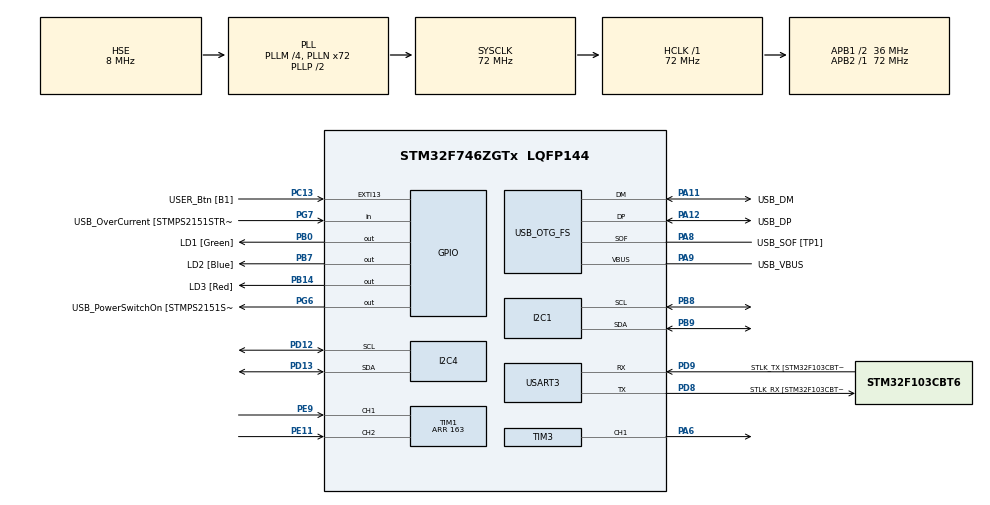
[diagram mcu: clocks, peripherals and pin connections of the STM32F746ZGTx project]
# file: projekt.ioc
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I2C1.OwnAddress=0
I2C1.Timing=0x00808CD2
I2C4.Timing=0x00808CD2
Mcu.Family=STM32F7
Mcu.Name=STM32F746ZGTx
Mcu.Package=LQFP144
NVIC.PriorityGroup=NVIC_PRIORITYGROUP_4
PA1.GPIO_Label=RMII_REF_CLK [LAN8742A-CZ-TR_REFCLK0]
PA1.Signal=ETH_REF_CLK
PA10.GPIO_Label=USB_ID
PA10.Signal=USB_OTG_FS_ID
PA11.GPIO_Label=USB_DM
PA11.Mode=Device_Only
PA11.Signal=USB_OTG_FS_DM
PA12.GPIO_Label=USB_DP
PA12.Mode=Device_Only
PA12.Signal=USB_OTG_FS_DP
PA13.GPIO_Label=TMS
PA13.Mode=Serial_Wire
PA13.Signal=SYS_JTMS-SWDIO
PA14.GPIO_Label=TCK
PA14.Mode=Serial_Wire
PA14.Signal=SYS_JTCK-SWCLK
PA2.GPIO_Label=RMII_MDIO [LAN8742A-CZ-TR_MDIO]
PA2.Signal=ETH_MDIO
PA6.Signal=S_TIM3_CH1
PA7.GPIO_Label=RMII_CRS_DV [LAN8742A-CZ-TR_CRS_DV]
PA7.Signal=ETH_CRS_DV
PA8.GPIO_Label=USB_SOF [TP1]
PA8.Mode=Activate_SOF_FS
PA8.Signal=USB_OTG_FS_SOF
PA9.GPIO_Label=USB_VBUS
PA9.Mode=Activate_VBUS
PA9.Signal=USB_OTG_FS_VBUS
PB0.GPIO_Label=LD1 [Green]
PB0.Signal=GPIO_Output
PB13.GPIO_Label=RMII_TXD1 [LAN8742A-CZ-TR_TXD1]
PB13.Signal=ETH_TXD1
PB14.GPIO_Label=LD3 [Red]
PB14.Signal=GPIO_Output
PB3.GPIO_Label=SW0
PB3.Signal=SYS_JTDO-SWO
PB7.GPIO_Label=LD2 [Blue]
PB7.Signal=GPIO_Output
PB8.Mode=I2C
PB8.Signal=I2C1_SCL
PB9.Mode=I2C
PB9.Signal=I2C1_SDA
PC1.GPIO_Label=RMII_MDC [LAN8742A-CZ-TR_MDC]
PC1.Signal=ETH_MDC
PC13.GPIO_Label=USER_Btn [B1]
PC13.Signal=GPXTI13
PC14/OSC32_IN.Mode=LSE-External-Oscillator
PC14/OSC32_IN.Signal=RCC_OSC32_IN
PC15/OSC32_OUT.Mode=LSE-External-Oscillator
PC15/OSC32_OUT.Signal=RCC_OSC32_OUT
PC4.GPIO_Label=RMII_RXD0 [LAN8742A-CZ-TR_RXD0]
PC4.Signal=ETH_RXD0
PC5.GPIO_Label=RMII_RXD1 [LAN8742A-CZ-TR_RXD1]
PC5.Signal=ETH_RXD1
PD12.Mode=I2C
PD12.Signal=I2C4_SCL
PD13.Mode=I2C
PD13.Signal=I2C4_SDA
PD8.GPIO_Label=STLK_RX [STM32F103CBT6_PA3]
PD8.GPIO_PuPd=GPIO_PULLUP
PD8.Mode=Asynchronous
PD8.Signal=USART3_TX
PD9.GPIO_Label=STLK_TX [STM32F103CBT6_PA2]
PD9.GPIO_PuPd=GPIO_PULLUP
PD9.Mode=Asynchronous
PD9.Signal=USART3_RX
PE11.Signal=S_TIM1_CH2
PE9.Signal=S_TIM1_CH1
PG11.GPIO_Label=RMII_TX_EN [LAN8742A-CZ-TR_TXEN]
PG11.Signal=ETH_TX_EN
PG13.GPIO_Label=RMII_TXD0 [LAN8742A-CZ-TR_TXD0]
PG13.Signal=ETH_TXD0
PG6.GPIO_Label=USB_PowerSwitchOn [STMPS2151STR_EN]
PG6.Signal=GPIO_Output
PG7.GPIO_Label=USB_OverCurrent [STMPS2151STR_FAULT]
PG7.Signal=GPIO_Input
PH0/OSC_IN.GPIO_Label=MCO [STM32F103CBT6_PA8]
PH0/OSC_IN.Mode=HSE-External-Clock-Source
PH0/OSC_IN.Signal=RCC_OSC_IN
PH1/OSC_OUT.Mode=HSE-External-Clock-Source
PH1/OSC_OUT.Signal=RCC_OSC_OUT
ProjectManager.HeapSize=0x200
ProjectManager.StackSize=0x400
ProjectManager.TargetToolchain=STM32CubeIDE
RCC.48MHZClocksFreq_Value=24000000
RCC.AHBFreq_Value=72000000
RCC.APB1CLKDivider=RCC_HCLK_DIV2
RCC.APB1Freq_Value=36000000
RCC.APB1TimFreq_Value=72000000
RCC.APB2Freq_Value=72000000
RCC.APB2TimFreq_Value=72000000
RCC.CortexFreq_Value=72000000
RCC.HCLKFreq_Value=72000000
RCC.HSE_VALUE=8000000
RCC.HSI_VALUE=16000000
RCC.PLLM=4
RCC.PLLMUL=RCC_PLL_MUL9
RCC.PLLN=72
RCC.PLLQ=3
RCC.PRESCALERUSB=RCC_USBCLKSOURCE_PLL_DIV1_5
RCC.SYSCLKFreq_VALUE=72000000
RCC.SYSCLKSource=RCC_SYSCLKSOURCE_PLLCLK
RCC.SYSCLKSourceVirtual=RCC_SYSCLKSOURCE_PLLCLK
RCC.USBFreq_Value=48000000
RCC.VCOOutputFreq_Value=144000000
SH.S_TIM1_CH1.0=TIM1_CH1,Encoder_Interface
SH.S_TIM1_CH2.0=TIM1_CH2,Encoder_Interface
SH.S_TIM3_CH1.0=TIM3_CH1,PWM Generation1 CH1
TIM1.EncoderMode=TIM_ENCODERMODE_TI12
TIM1.Period=163
TIM3.Channel-PWM\ Generation1\ CH1=TIM_CHANNEL_1
TIM3.ClockDivision=TIM_CLOCKDIVISION_DIV4
TIM3.Period=65535
TIM3.Prescaler=6000
USART3.VirtualMode-Asynchronous=VM_ASYNC
USB_OTG_FS.VirtualMode=Device_Only
VP_TIM3_VS_ClockSourceINT.Mode=Internal
board=NUCLEO-F746ZG

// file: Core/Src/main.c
/* USER CODE BEGIN Header */
/**
  ******************************************************************************
  * @file           : main.c
  * @brief          : Main program body
  ******************************************************************************
  * @attention
  *
  * Copyright (c) 2024 STMicroelectronics.
  * All rights reserved.
  *
  * This software is licensed under terms that can be found in the LICENSE file
  * in the root directory of this software component.
  * If no LICENSE file comes with this software, it is provided AS-IS.
  *
  ******************************************************************************
  */
/* USER CODE END Header */
#include "main.h"

/* USER CODE BEGIN Includes */
#include "C:\Users\GamingSystemOfUseV\Documents\github\Regulator-PID-ogrzewanie\projekt\Core\Inc\BMPXX80.h"
#include "C:\Users\GamingSystemOfUseV\Documents\github\Regulator-PID-ogrzewanie\projekt\Core\Inc\i2c-lcd.h"
#include "math.h"
#include <string.h>
#include <stdio.h>
#include <stdlib.h>
#include <stdbool.h>
/* USER CODE END Includes */

I2C_HandleTypeDef hi2c1;
I2C_HandleTypeDef hi2c4;

TIM_HandleTypeDef htim1;
TIM_HandleTypeDef htim3;

UART_HandleTypeDef huart3;

PCD_HandleTypeDef hpcd_USB_OTG_FS;

/* USER CODE BEGIN PV */
float temperature;
int32_t pressure;
float uchyb=0;
float filtrowanyuchyb=0;
float poprzedniuchyb;
float calkowanyuchyb=0;
float zadana=27;
float sterowanie;
float Tp=0;
float pTp;
float const kp=6000;
float const kd=10;
float const ki=0.5;
char msg[50];
char otrzymana[8];
bool startuart=false;
/* USER CODE END PV */

void SystemClock_Config(void);
static void MX_GPIO_Init(void);
static void MX_USART3_UART_Init(void);
static void MX_USB_OTG_FS_PCD_Init(void);
static void MX_I2C1_Init(void);
static void MX_TIM1_Init(void);
static void MX_TIM3_Init(void);
static void MX_I2C4_Init(void);

int main(void)
{
  /* USER CODE BEGIN 1 */
#define MAX_LENGTH 30
char text[MAX_LENGTH];
  /* USER CODE END 1 */

  /* MCU Configuration--------------------------------------------------------*/

  /* Reset of all peripherals, Initializes the Flash interface and the Systick. */
  HAL_Init();

  /* Configure the system clock */
  SystemClock_Config();

  /* Initialize all configured peripherals */
  MX_GPIO_Init();
  MX_USART3_UART_Init();
  MX_USB_OTG_FS_PCD_Init();
  MX_I2C1_Init();
  MX_TIM1_Init();
  MX_TIM3_Init();
  MX_I2C4_Init();
  /* USER CODE BEGIN 2 */
  HAL_GPIO_TogglePin(GPIOB, LD1_Pin);
  uint32_t wait=HAL_GetTick();
  while(HAL_GetTick()-wait<5000){
	  if (HAL_GPIO_ReadPin(GPIOC, USER_Btn_Pin) == 1){
  		  HAL_GPIO_TogglePin(GPIOB, LD2_Pin);
  		  lcd_init ();
  		  break;
  	  }
  }
  HAL_GPIO_TogglePin(GPIOB, LD1_Pin);
  BMP280_Init(&hi2c1, BMP280_TEMPERATURE_16BIT, BMP280_STANDARD, BMP280_FORCEDMODE);
  HAL_TIM_Encoder_Start(&htim1, TIM_CHANNEL_ALL);
  HAL_TIM_PWM_Start(&htim3, TIM_CHANNEL_1);
  /* USER CODE END 2 */

  /* Infinite loop */
  while (1)
  {

    /* USER CODE BEGIN 3 */
	  if(HAL_GPIO_ReadPin(GPIOB, LD3_Pin) == 0){
	  zadana=__HAL_TIM_GET_COUNTER(&htim1)/8+20;
	  }
	  temperature=BMP280_ReadTemperature();
	  //BMP280_ReadTemperatureAndPressure(&temperature, &pressure);
	  poprzedniuchyb=filtrowanyuchyb;
	  uchyb=zadana-temperature;
	  filtrowanyuchyb=0.20787957635076193/2*filtrowanyuchyb+(1-0.20787957635076193/2)*uchyb;
	  calkowanyuchyb=calkowanyuchyb+uchyb;
	  pTp=Tp;
	  Tp=HAL_GetTick();
	  sterowanie=round(kp*uchyb+kd/(Tp-pTp)*(filtrowanyuchyb-poprzedniuchyb)+ki*calkowanyuchyb);
	  if(sterowanie<0){
		  sterowanie=0;
	  }
	  if(sterowanie>65535){
		  sterowanie=65535;
	  }
	  if(calkowanyuchyb*ki>65535){
		  calkowanyuchyb=65535/ki;
	  }
	  if(calkowanyuchyb*ki<-65535){
	  		  calkowanyuchyb=-65535/ki;
	  	  }
	  __HAL_TIM_SET_COMPARE(&htim3, TIM_CHANNEL_1, sterowanie);
//	  sprintf((char*)msg, "Temperatura aktualna= %3i\n\r °C", temperature);
//	  HAL_UART_Transmit(&huart3, (uint8_t*)msg, strlen(msg), 1000);
//	  sprintf((char*)msg, "Temperatura zadana= %3i\n\r °C", temperature);
//	  HAL_UART_Transmit(&huart3, (uint8_t*)msg, strlen(msg), 1000);
	  sprintf((char*)msg, "%f\n\r%09.6f\n\r", temperature, zadana);
	  if (startuart){
		  HAL_UART_Transmit(&huart3, (uint8_t*)msg, strlen(msg), 1000);
	  }
	  if (HAL_GPIO_ReadPin(GPIOC, USER_Btn_Pin) == 1 && !startuart){
		  startuart=true;
		  while(HAL_GPIO_ReadPin(GPIOC, USER_Btn_Pin) == 1){}
	  }
	  if (HAL_GPIO_ReadPin(GPIOC, USER_Btn_Pin) == 1 && startuart){
		  HAL_GPIO_TogglePin(GPIOB, LD3_Pin);
		  if (HAL_GPIO_ReadPin(GPIOB, LD3_Pin) == 1){
			  HAL_UART_Receive(&huart3,(uint8_t*)otrzymana, 8, 10000);
			  zadana=atof(otrzymana);
		  }
		  while(HAL_GPIO_ReadPin(GPIOC, USER_Btn_Pin) == 1){}
	  }
	  if(HAL_GPIO_ReadPin(GPIOB, LD2_Pin) == 1){
		  BMP280_ReadTemperatureAndPressure(&temperature, &pressure);
		   lcd_clear ();
		   lcd_put_cur(0, 0);
		   sprintf((char*)text, "Temp. %.2f C", temperature);
		   lcd_send_string(text);
		   lcd_put_cur(1, 0);
		   sprintf((char*)text, "T_zad. %.2f C", zadana);
		   lcd_send_string(text);

	  }
  }
  /* USER CODE END 3 */
}

void SystemClock_Config(void)
{
  RCC_OscInitTypeDef RCC_OscInitStruct = {0};
  RCC_ClkInitTypeDef RCC_ClkInitStruct = {0};

  /** Configure LSE Drive Capability
  */
  HAL_PWR_EnableBkUpAccess();

  /** Configure the main internal regulator output voltage
  */
  __HAL_RCC_PWR_CLK_ENABLE();
  __HAL_PWR_VOLTAGESCALING_CONFIG(PWR_REGULATOR_VOLTAGE_SCALE3);

  /** Initializes the RCC Oscillators according to the specified parameters
  * in the RCC_OscInitTypeDef structure.
  */
  RCC_OscInitStruct.OscillatorType = RCC_OSCILLATORTYPE_HSE;
  RCC_OscInitStruct.HSEState = RCC_HSE_BYPASS;
  RCC_OscInitStruct.PLL.PLLState = RCC_PLL_ON;
  RCC_OscInitStruct.PLL.PLLSource = RCC_PLLSOURCE_HSE;
  RCC_OscInitStruct.PLL.PLLM = 4;
  RCC_OscInitStruct.PLL.PLLN = 72;
  RCC_OscInitStruct.PLL.PLLP = RCC_PLLP_DIV2;
  RCC_OscInitStruct.PLL.PLLQ = 3;
  if (HAL_RCC_OscConfig(&RCC_OscInitStruct) != HAL_OK)
  {
    Error_Handler();
  }

  /** Initializes the CPU, AHB and APB buses clocks
  */
  RCC_ClkInitStruct.ClockType = RCC_CLOCKTYPE_HCLK|RCC_CLOCKTYPE_SYSCLK
                              |RCC_CLOCKTYPE_PCLK1|RCC_CLOCKTYPE_PCLK2;
  RCC_ClkInitStruct.SYSCLKSource = RCC_SYSCLKSOURCE_PLLCLK;
  RCC_ClkInitStruct.AHBCLKDivider = RCC_SYSCLK_DIV1;
  RCC_ClkInitStruct.APB1CLKDivider = RCC_HCLK_DIV2;
  RCC_ClkInitStruct.APB2CLKDivider = RCC_HCLK_DIV1;

  if (HAL_RCC_ClockConfig(&RCC_ClkInitStruct, FLASH_LATENCY_2) != HAL_OK)
  {
    Error_Handler();
  }
}

static void MX_I2C1_Init(void)
{

  hi2c1.Instance = I2C1;
  hi2c1.Init.Timing = 0x00808CD2;
  hi2c1.Init.OwnAddress1 = 0;
  hi2c1.Init.AddressingMode = I2C_ADDRESSINGMODE_7BIT;
  hi2c1.Init.DualAddressMode = I2C_DUALADDRESS_DISABLE;
  hi2c1.Init.OwnAddress2 = 0;
  hi2c1.Init.OwnAddress2Masks = I2C_OA2_NOMASK;
  hi2c1.Init.GeneralCallMode = I2C_GENERALCALL_DISABLE;
  hi2c1.Init.NoStretchMode = I2C_NOSTRETCH_DISABLE;
  if (HAL_I2C_Init(&hi2c1) != HAL_OK)
  {
    Error_Handler();
  }

  /** Configure Analogue filter
  */
  if (HAL_I2CEx_ConfigAnalogFilter(&hi2c1, I2C_ANALOGFILTER_ENABLE) != HAL_OK)
  {
    Error_Handler();
  }

  /** Configure Digital filter
  */
  if (HAL_I2CEx_ConfigDigitalFilter(&hi2c1, 0) != HAL_OK)
  {
    Error_Handler();
  }

}

static void MX_I2C4_Init(void)
{

  hi2c4.Instance = I2C4;
  hi2c4.Init.Timing = 0x00808CD2;
  hi2c4.Init.OwnAddress1 = 0;
  hi2c4.Init.AddressingMode = I2C_ADDRESSINGMODE_7BIT;
  hi2c4.Init.DualAddressMode = I2C_DUALADDRESS_DISABLE;
  hi2c4.Init.OwnAddress2 = 0;
  hi2c4.Init.OwnAddress2Masks = I2C_OA2_NOMASK;
  hi2c4.Init.GeneralCallMode = I2C_GENERALCALL_DISABLE;
  hi2c4.Init.NoStretchMode = I2C_NOSTRETCH_DISABLE;
  if (HAL_I2C_Init(&hi2c4) != HAL_OK)
  {
    Error_Handler();
  }

  /** Configure Analogue filter
  */
  if (HAL_I2CEx_ConfigAnalogFilter(&hi2c4, I2C_ANALOGFILTER_ENABLE) != HAL_OK)
  {
    Error_Handler();
  }

  /** Configure Digital filter
  */
  if (HAL_I2CEx_ConfigDigitalFilter(&hi2c4, 0) != HAL_OK)
  {
    Error_Handler();
  }

}

static void MX_TIM1_Init(void)
{

  TIM_Encoder_InitTypeDef sConfig = {0};
  TIM_MasterConfigTypeDef sMasterConfig = {0};

  htim1.Instance = TIM1;
  htim1.Init.Prescaler = 0;
  htim1.Init.CounterMode = TIM_COUNTERMODE_UP;
  htim1.Init.Period = 163;
  htim1.Init.ClockDivision = TIM_CLOCKDIVISION_DIV1;
  htim1.Init.RepetitionCounter = 0;
  htim1.Init.AutoReloadPreload = TIM_AUTORELOAD_PRELOAD_DISABLE;
  sConfig.EncoderMode = TIM_ENCODERMODE_TI12;
  sConfig.IC1Polarity = TIM_ICPOLARITY_RISING;
  sConfig.IC1Selection = TIM_ICSELECTION_DIRECTTI;
  sConfig.IC1Prescaler = TIM_ICPSC_DIV1;
  sConfig.IC1Filter = 0;
  sConfig.IC2Polarity = TIM_ICPOLARITY_RISING;
  sConfig.IC2Selection = TIM_ICSELECTION_DIRECTTI;
  sConfig.IC2Prescaler = TIM_ICPSC_DIV1;
  sConfig.IC2Filter = 0;
  if (HAL_TIM_Encoder_Init(&htim1, &sConfig) != HAL_OK)
  {
    Error_Handler();
  }
  sMasterConfig.MasterOutputTrigger = TIM_TRGO_RESET;
  sMasterConfig.MasterOutputTrigger2 = TIM_TRGO2_RESET;
  sMasterConfig.MasterSlaveMode = TIM_MASTERSLAVEMODE_DISABLE;
  if (HAL_TIMEx_MasterConfigSynchronization(&htim1, &sMasterConfig) != HAL_OK)
  {
    Error_Handler();
  }

}

static void MX_TIM3_Init(void)
{

  TIM_ClockConfigTypeDef sClockSourceConfig = {0};
  TIM_MasterConfigTypeDef sMasterConfig = {0};
  TIM_OC_InitTypeDef sConfigOC = {0};

  htim3.Instance = TIM3;
  htim3.Init.Prescaler = 6000;
  htim3.Init.CounterMode = TIM_COUNTERMODE_UP;
  htim3.Init.Period = 65535;
  htim3.Init.ClockDivision = TIM_CLOCKDIVISION_DIV4;
  htim3.Init.AutoReloadPreload = TIM_AUTORELOAD_PRELOAD_DISABLE;
  if (HAL_TIM_Base_Init(&htim3) != HAL_OK)
  {
    Error_Handler();
  }
  sClockSourceConfig.ClockSource = TIM_CLOCKSOURCE_INTERNAL;
  if (HAL_TIM_ConfigClockSource(&htim3, &sClockSourceConfig) != HAL_OK)
  {
    Error_Handler();
  }
  if (HAL_TIM_PWM_Init(&htim3) != HAL_OK)
  {
    Error_Handler();
  }
  sMasterConfig.MasterOutputTrigger = TIM_TRGO_RESET;
  sMasterConfig.MasterSlaveMode = TIM_MASTERSLAVEMODE_DISABLE;
  if (HAL_TIMEx_MasterConfigSynchronization(&htim3, &sMasterConfig) != HAL_OK)
  {
    Error_Handler();
  }
  sConfigOC.OCMode = TIM_OCMODE_PWM1;
  sConfigOC.Pulse = 0;
  sConfigOC.OCPolarity = TIM_OCPOLARITY_HIGH;
  sConfigOC.OCFastMode = TIM_OCFAST_DISABLE;
  if (HAL_TIM_PWM_ConfigChannel(&htim3, &sConfigOC, TIM_CHANNEL_1) != HAL_OK)
  {
    Error_Handler();
  }
  HAL_TIM_MspPostInit(&htim3);

}

static void MX_USART3_UART_Init(void)
{

  huart3.Instance = USART3;
  huart3.Init.BaudRate = 115200;
  huart3.Init.WordLength = UART_WORDLENGTH_8B;
  huart3.Init.StopBits = UART_STOPBITS_1;
  huart3.Init.Parity = UART_PARITY_NONE;
  huart3.Init.Mode = UART_MODE_TX_RX;
  huart3.Init.HwFlowCtl = UART_HWCONTROL_NONE;
  huart3.Init.OverSampling = UART_OVERSAMPLING_16;
  huart3.Init.OneBitSampling = UART_ONE_BIT_SAMPLE_DISABLE;
  huart3.AdvancedInit.AdvFeatureInit = UART_ADVFEATURE_NO_INIT;
  if (HAL_UART_Init(&huart3) != HAL_OK)
  {
    Error_Handler();
  }

}

static void MX_USB_OTG_FS_PCD_Init(void)
{

  hpcd_USB_OTG_FS.Instance = USB_OTG_FS;
  hpcd_USB_OTG_FS.Init.dev_endpoints = 6;
  hpcd_USB_OTG_FS.Init.speed = PCD_SPEED_FULL;
  hpcd_USB_OTG_FS.Init.dma_enable = DISABLE;
  hpcd_USB_OTG_FS.Init.phy_itface = PCD_PHY_EMBEDDED;
  hpcd_USB_OTG_FS.Init.Sof_enable = ENABLE;
  hpcd_USB_OTG_FS.Init.low_power_enable = DISABLE;
  hpcd_USB_OTG_FS.Init.lpm_enable = DISABLE;
  hpcd_USB_OTG_FS.Init.vbus_sensing_enable = ENABLE;
  hpcd_USB_OTG_FS.Init.use_dedicated_ep1 = DISABLE;
  if (HAL_PCD_Init(&hpcd_USB_OTG_FS) != HAL_OK)
  {
    Error_Handler();
  }

}

static void MX_GPIO_Init(void)
{
  GPIO_InitTypeDef GPIO_InitStruct = {0};

  /* GPIO Ports Clock Enable */
  __HAL_RCC_GPIOC_CLK_ENABLE();
  __HAL_RCC_GPIOH_CLK_ENABLE();
  __HAL_RCC_GPIOA_CLK_ENABLE();
  __HAL_RCC_GPIOB_CLK_ENABLE();
  __HAL_RCC_GPIOE_CLK_ENABLE();
  __HAL_RCC_GPIOD_CLK_ENABLE();
  __HAL_RCC_GPIOG_CLK_ENABLE();

  /*Configure GPIO pin Output Level */
  HAL_GPIO_WritePin(GPIOB, LD1_Pin|LD3_Pin|LD2_Pin, GPIO_PIN_RESET);

  /*Configure GPIO pin Output Level */
  HAL_GPIO_WritePin(USB_PowerSwitchOn_GPIO_Port, USB_PowerSwitchOn_Pin, GPIO_PIN_RESET);

  /*Configure GPIO pin : USER_Btn_Pin */
  GPIO_InitStruct.Pin = USER_Btn_Pin;
  GPIO_InitStruct.Mode = GPIO_MODE_IT_RISING;
  GPIO_InitStruct.Pull = GPIO_NOPULL;
  HAL_GPIO_Init(USER_Btn_GPIO_Port, &GPIO_InitStruct);

  /*Configure GPIO pins : RMII_MDC_Pin RMII_RXD0_Pin RMII_RXD1_Pin */
  GPIO_InitStruct.Pin = RMII_MDC_Pin|RMII_RXD0_Pin|RMII_RXD1_Pin;
  GPIO_InitStruct.Mode = GPIO_MODE_AF_PP;
  GPIO_InitStruct.Pull = GPIO_NOPULL;
  GPIO_InitStruct.Speed = GPIO_SPEED_FREQ_VERY_HIGH;
  GPIO_InitStruct.Alternate = GPIO_AF11_ETH;
  HAL_GPIO_Init(GPIOC, &GPIO_InitStruct);

  /*Configure GPIO pins : RMII_REF_CLK_Pin RMII_MDIO_Pin RMII_CRS_DV_Pin */
  GPIO_InitStruct.Pin = RMII_REF_CLK_Pin|RMII_MDIO_Pin|RMII_CRS_DV_Pin;
  GPIO_InitStruct.Mode = GPIO_MODE_AF_PP;
  GPIO_InitStruct.Pull = GPIO_NOPULL;
  GPIO_InitStruct.Speed = GPIO_SPEED_FREQ_VERY_HIGH;
  GPIO_InitStruct.Alternate = GPIO_AF11_ETH;
  HAL_GPIO_Init(GPIOA, &GPIO_InitStruct);

  /*Configure GPIO pins : LD1_Pin LD3_Pin LD2_Pin */
  GPIO_InitStruct.Pin = LD1_Pin|LD3_Pin|LD2_Pin;
  GPIO_InitStruct.Mode = GPIO_MODE_OUTPUT_PP;
  GPIO_InitStruct.Pull = GPIO_NOPULL;
  GPIO_InitStruct.Speed = GPIO_SPEED_FREQ_LOW;
  HAL_GPIO_Init(GPIOB, &GPIO_InitStruct);

  /*Configure GPIO pin : RMII_TXD1_Pin */
  GPIO_InitStruct.Pin = RMII_TXD1_Pin;
  GPIO_InitStruct.Mode = GPIO_MODE_AF_PP;
  GPIO_InitStruct.Pull = GPIO_NOPULL;
  GPIO_InitStruct.Speed = GPIO_SPEED_FREQ_VERY_HIGH;
  GPIO_InitStruct.Alternate = GPIO_AF11_ETH;
  HAL_GPIO_Init(RMII_TXD1_GPIO_Port, &GPIO_InitStruct);

  /*Configure GPIO pin : USB_PowerSwitchOn_Pin */
  GPIO_InitStruct.Pin = USB_PowerSwitchOn_Pin;
  GPIO_InitStruct.Mode = GPIO_MODE_OUTPUT_PP;
  GPIO_InitStruct.Pull = GPIO_NOPULL;
  GPIO_InitStruct.Speed = GPIO_SPEED_FREQ_LOW;
  HAL_GPIO_Init(USB_PowerSwitchOn_GPIO_Port, &GPIO_InitStruct);

  /*Configure GPIO pin : USB_OverCurrent_Pin */
  GPIO_InitStruct.Pin = USB_OverCurrent_Pin;
  GPIO_InitStruct.Mode = GPIO_MODE_INPUT;
  GPIO_InitStruct.Pull = GPIO_NOPULL;
  HAL_GPIO_Init(USB_OverCurrent_GPIO_Port, &GPIO_InitStruct);

  /*Configure GPIO pins : RMII_TX_EN_Pin RMII_TXD0_Pin */
  GPIO_InitStruct.Pin = RMII_TX_EN_Pin|RMII_TXD0_Pin;
  GPIO_InitStruct.Mode = GPIO_MODE_AF_PP;
  GPIO_InitStruct.Pull = GPIO_NOPULL;
  GPIO_InitStruct.Speed = GPIO_SPEED_FREQ_VERY_HIGH;
  GPIO_InitStruct.Alternate = GPIO_AF11_ETH;
  HAL_GPIO_Init(GPIOG, &GPIO_InitStruct);

}

void Error_Handler(void)
{
  __disable_irq();
  while (1)
  {
  }
}
